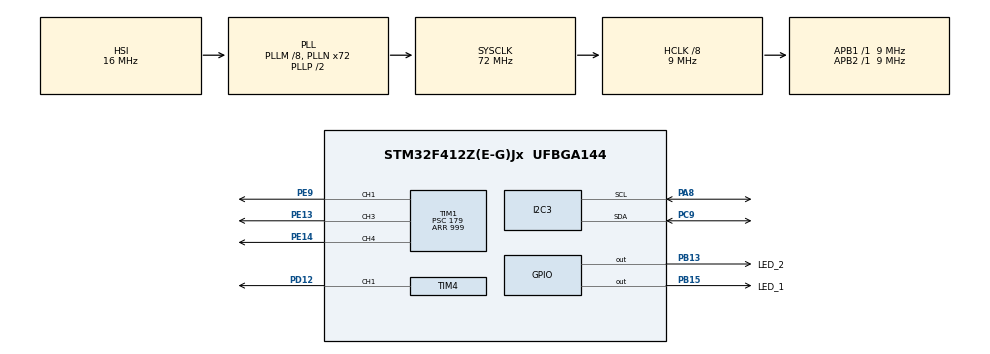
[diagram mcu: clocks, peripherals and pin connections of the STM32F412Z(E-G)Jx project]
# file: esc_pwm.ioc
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I2C3.I2C_Mode=I2C_Fast
Mcu.Family=STM32F4
Mcu.Name=STM32F412Z(E-G)Jx
Mcu.Package=UFBGA144
NVIC.PriorityGroup=NVIC_PRIORITYGROUP_4
PA13.Mode=Serial_Wire
PA13.Signal=SYS_JTMS-SWDIO
PA14.Mode=Serial_Wire
PA14.Signal=SYS_JTCK-SWCLK
PA8.Mode=I2C
PA8.Signal=I2C3_SCL
PB13.GPIO_Label=LED_2
PB13.Signal=GPIO_Output
PB15.GPIO_Label=LED_1
PB15.Signal=GPIO_Output
PC9.Mode=I2C
PC9.Signal=I2C3_SDA
PD12.Signal=S_TIM4_CH1
PE13.Signal=S_TIM1_CH3
PE14.Signal=S_TIM1_CH4
PE9.Signal=S_TIM1_CH1
ProjectManager.HeapSize=0x200
ProjectManager.StackSize=0x400
ProjectManager.TargetToolchain=STM32CubeIDE
RCC.AHBCLKDivider=RCC_SYSCLK_DIV8
RCC.AHBFreq_Value=9000000
RCC.APB1Freq_Value=9000000
RCC.APB1TimFreq_Value=9000000
RCC.APB2Freq_Value=9000000
RCC.APB2TimFreq_Value=9000000
RCC.CortexFreq_Value=9000000
RCC.HCLKFreq_Value=9000000
RCC.PLLM=8
RCC.PLLN=72
RCC.SYSCLKFreq_VALUE=72000000
RCC.SYSCLKSource=RCC_SYSCLKSOURCE_PLLCLK
RCC.USBFreq_Value=72000000
RCC.VCOOutputFreq_Value=144000000
SH.S_TIM1_CH1.0=TIM1_CH1,PWM Generation1 CH1
SH.S_TIM1_CH3.0=TIM1_CH3,PWM Generation3 CH3
SH.S_TIM1_CH4.0=TIM1_CH4,PWM Generation4 CH4
SH.S_TIM4_CH1.0=TIM4_CH1,PWM Generation1 CH1
TIM1.Channel-PWM\ Generation1\ CH1=TIM_CHANNEL_1
TIM1.Channel-PWM\ Generation3\ CH3=TIM_CHANNEL_3
TIM1.Channel-PWM\ Generation4\ CH4=TIM_CHANNEL_4
TIM1.Period=999
TIM1.Prescaler=179
TIM4.Channel-PWM\ Generation1\ CH1=TIM_CHANNEL_1
TIM4.Period=999
TIM4.Prescaler=179
board=custom

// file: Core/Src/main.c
/* USER CODE BEGIN Header */
/**
  ******************************************************************************
  * @file           : main.c
  * @brief          : Main program body
  ******************************************************************************
  * @attention
  *
  * Copyright (c) 2024 STMicroelectronics.
  * All rights reserved.
  *
  * This software is licensed under terms that can be found in the LICENSE file
  * in the root directory of this software component.
  * If no LICENSE file comes with this software, it is provided AS-IS.
  *
  ******************************************************************************
  */
/* USER CODE END Header */
#include "main.h"

/* USER CODE BEGIN Includes */
#include "fonts.h"
#include "ssd1306.h"

/* USER CODE END Includes */

/* USER CODE BEGIN PTD */
#define calibrate 1

/* USER CODE END PTD */

I2C_HandleTypeDef hi2c3;

TIM_HandleTypeDef htim1;
TIM_HandleTypeDef htim4;

void SystemClock_Config(void);
static void MX_GPIO_Init(void);
static void MX_TIM1_Init(void);
static void MX_TIM4_Init(void);
static void MX_I2C3_Init(void);

/* USER CODE BEGIN 0 */
void motor_drive()
{

	  SSD1306_GotoXY (0,0);
	  SSD1306_Puts ("PWM = %15", &Font_11x18, 1);
	  SSD1306_UpdateScreen(); //display
	  TIM1->CCR1 = 54;
	  TIM1->CCR3 = 54;
	  TIM1->CCR4 = 54;
	  TIM4->CCR1 = 54;
	  HAL_Delay(2000);
	  SSD1306_Clear();

	  SSD1306_GotoXY (0,0);
	  SSD1306_Puts ("PWM = %20", &Font_11x18, 1);
	  SSD1306_UpdateScreen(); //display
	  TIM1->CCR1 = 55;
	  TIM1->CCR3 = 55;
	  TIM1->CCR4 = 55;
	  TIM4->CCR1 = 55;
	  HAL_Delay(2000);
	  SSD1306_Clear();

	  SSD1306_GotoXY (0,0);
	  SSD1306_Puts ("PWM = %25", &Font_11x18, 1);
	  SSD1306_UpdateScreen(); //display
	  TIM1->CCR1 = 56;
	  TIM1->CCR3 = 56;
	  TIM1->CCR4 = 56;
	  TIM4->CCR1 = 56;
	  HAL_Delay(2000);
	  SSD1306_Clear();

	  SSD1306_GotoXY (0,0);
	  SSD1306_Puts ("PWM = %30", &Font_11x18, 1);
	  SSD1306_UpdateScreen(); //display
	  TIM1->CCR1 = 57;
	  TIM1->CCR3 = 57;
	  TIM1->CCR4 = 57;
	  TIM4->CCR1 = 57;
	  HAL_Delay(2000);
	  SSD1306_Clear();

	  SSD1306_GotoXY (0,0);
	  SSD1306_Puts ("PWM = %35", &Font_11x18, 1);
	  SSD1306_UpdateScreen(); //display
	  TIM1->CCR1 = 58;
	  TIM1->CCR3 = 58;
	  TIM1->CCR4 = 58;
	  TIM4->CCR1 = 58;
	  HAL_Delay(2000);
	  SSD1306_Clear();

	  SSD1306_GotoXY (0,0);
	  SSD1306_Puts ("PWM = %40", &Font_11x18, 1);
	  SSD1306_UpdateScreen(); //display
	  TIM1->CCR1 = 59;
	  TIM1->CCR3 = 59;
	  TIM1->CCR4 = 59;
	  TIM4->CCR1 = 59;
	  HAL_Delay(2000);
	  SSD1306_Clear();

	  SSD1306_GotoXY (0,0);
	  SSD1306_Puts ("PWM = %45", &Font_11x18, 1);
	  SSD1306_UpdateScreen(); //display
	  TIM1->CCR1 = 60;
	  TIM1->CCR3 = 60;
	  TIM1->CCR4 = 60;
	  TIM4->CCR1 = 60;
	  HAL_Delay(2000);
	  SSD1306_Clear();

}

void motor_stop()
{
	  SSD1306_GotoXY (0,0);
	  SSD1306_Puts ("PWM = %0", &Font_11x18, 1);
	  SSD1306_UpdateScreen(); //display
	  TIM1->CCR1 = 50;
	  TIM1->CCR3 = 50;
	  TIM1->CCR4 = 50;
	  TIM4->CCR1 = 50;
	  HAL_Delay(2000);
	  SSD1306_Clear();

}

/* USER CODE END 0 */

int main(void)
{

  /* MCU Configuration--------------------------------------------------------*/

  /* Reset of all peripherals, Initializes the Flash interface and the Systick. */
  HAL_Init();

  /* Configure the system clock */
  SystemClock_Config();

  /* Initialize all configured peripherals */
  MX_GPIO_Init();
  MX_TIM1_Init();
  MX_TIM4_Init();
  MX_I2C3_Init();
  /* USER CODE BEGIN 2 */
  SSD1306_Init();
  HAL_GPIO_WritePin(GPIOB, LED_1_Pin|LED_2_Pin, GPIO_PIN_SET);
  HAL_Delay(2000);
  HAL_TIM_PWM_Start(&htim1, TIM_CHANNEL_1);
  HAL_TIM_PWM_Start(&htim1, TIM_CHANNEL_3);
  HAL_TIM_PWM_Start(&htim1, TIM_CHANNEL_4);
  HAL_TIM_PWM_Start(&htim4, TIM_CHANNEL_1);

  SSD1306_GotoXY (0,0);
  SSD1306_Puts ("Calibrating", &Font_11x18, 1);
  SSD1306_UpdateScreen(); //display

#if calibrate
  TIM1->CCR1 = 100;
  TIM1->CCR3 = 100;
  TIM1->CCR4 = 100;
  TIM4->CCR1 = 100;
  HAL_Delay(2000);
  TIM1->CCR1 = 50;
  TIM1->CCR3 = 50;
  TIM1->CCR4 = 50;
  TIM4->CCR1 = 50;
  HAL_Delay(1000);
  TIM1->CCR1 = 0;
#endif

  HAL_Delay(4000);
  SSD1306_Clear();

  /* USER CODE END 2 */

  /* Infinite loop */
  while (1)
  {

    /* USER CODE BEGIN 3 */

	  motor_drive();
	  motor_stop();

	  SSD1306_GotoXY (0,0);
	  SSD1306_Puts ("Test finished", &Font_11x18, 1);
	  SSD1306_UpdateScreen(); //display
	  HAL_Delay(2000);
	  SSD1306_Clear();
  }
  /* USER CODE END 3 */
}

void SystemClock_Config(void)
{
  RCC_OscInitTypeDef RCC_OscInitStruct = {0};
  RCC_ClkInitTypeDef RCC_ClkInitStruct = {0};

  /** Configure the main internal regulator output voltage
  */
  __HAL_RCC_PWR_CLK_ENABLE();
  __HAL_PWR_VOLTAGESCALING_CONFIG(PWR_REGULATOR_VOLTAGE_SCALE1);

  /** Initializes the RCC Oscillators according to the specified parameters
  * in the RCC_OscInitTypeDef structure.
  */
  RCC_OscInitStruct.OscillatorType = RCC_OSCILLATORTYPE_HSI;
  RCC_OscInitStruct.HSIState = RCC_HSI_ON;
  RCC_OscInitStruct.HSICalibrationValue = RCC_HSICALIBRATION_DEFAULT;
  RCC_OscInitStruct.PLL.PLLState = RCC_PLL_ON;
  RCC_OscInitStruct.PLL.PLLSource = RCC_PLLSOURCE_HSI;
  RCC_OscInitStruct.PLL.PLLM = 8;
  RCC_OscInitStruct.PLL.PLLN = 72;
  RCC_OscInitStruct.PLL.PLLP = RCC_PLLP_DIV2;
  RCC_OscInitStruct.PLL.PLLQ = 2;
  RCC_OscInitStruct.PLL.PLLR = 2;
  if (HAL_RCC_OscConfig(&RCC_OscInitStruct) != HAL_OK)
  {
    Error_Handler();
  }

  /** Initializes the CPU, AHB and APB buses clocks
  */
  RCC_ClkInitStruct.ClockType = RCC_CLOCKTYPE_HCLK|RCC_CLOCKTYPE_SYSCLK
                              |RCC_CLOCKTYPE_PCLK1|RCC_CLOCKTYPE_PCLK2;
  RCC_ClkInitStruct.SYSCLKSource = RCC_SYSCLKSOURCE_PLLCLK;
  RCC_ClkInitStruct.AHBCLKDivider = RCC_SYSCLK_DIV8;
  RCC_ClkInitStruct.APB1CLKDivider = RCC_HCLK_DIV1;
  RCC_ClkInitStruct.APB2CLKDivider = RCC_HCLK_DIV1;

  if (HAL_RCC_ClockConfig(&RCC_ClkInitStruct, FLASH_LATENCY_0) != HAL_OK)
  {
    Error_Handler();
  }
}

static void MX_I2C3_Init(void)
{

  hi2c3.Instance = I2C3;
  hi2c3.Init.ClockSpeed = 400000;
  hi2c3.Init.DutyCycle = I2C_DUTYCYCLE_2;
  hi2c3.Init.OwnAddress1 = 0;
  hi2c3.Init.AddressingMode = I2C_ADDRESSINGMODE_7BIT;
  hi2c3.Init.DualAddressMode = I2C_DUALADDRESS_DISABLE;
  hi2c3.Init.OwnAddress2 = 0;
  hi2c3.Init.GeneralCallMode = I2C_GENERALCALL_DISABLE;
  hi2c3.Init.NoStretchMode = I2C_NOSTRETCH_DISABLE;
  if (HAL_I2C_Init(&hi2c3) != HAL_OK)
  {
    Error_Handler();
  }

}

static void MX_TIM1_Init(void)
{

  TIM_MasterConfigTypeDef sMasterConfig = {0};
  TIM_OC_InitTypeDef sConfigOC = {0};
  TIM_BreakDeadTimeConfigTypeDef sBreakDeadTimeConfig = {0};

  htim1.Instance = TIM1;
  htim1.Init.Prescaler = 179;
  htim1.Init.CounterMode = TIM_COUNTERMODE_UP;
  htim1.Init.Period = 999;
  htim1.Init.ClockDivision = TIM_CLOCKDIVISION_DIV1;
  htim1.Init.RepetitionCounter = 0;
  htim1.Init.AutoReloadPreload = TIM_AUTORELOAD_PRELOAD_DISABLE;
  if (HAL_TIM_PWM_Init(&htim1) != HAL_OK)
  {
    Error_Handler();
  }
  sMasterConfig.MasterOutputTrigger = TIM_TRGO_RESET;
  sMasterConfig.MasterSlaveMode = TIM_MASTERSLAVEMODE_DISABLE;
  if (HAL_TIMEx_MasterConfigSynchronization(&htim1, &sMasterConfig) != HAL_OK)
  {
    Error_Handler();
  }
  sConfigOC.OCMode = TIM_OCMODE_PWM1;
  sConfigOC.Pulse = 0;
  sConfigOC.OCPolarity = TIM_OCPOLARITY_HIGH;
  sConfigOC.OCNPolarity = TIM_OCNPOLARITY_HIGH;
  sConfigOC.OCFastMode = TIM_OCFAST_DISABLE;
  sConfigOC.OCIdleState = TIM_OCIDLESTATE_RESET;
  sConfigOC.OCNIdleState = TIM_OCNIDLESTATE_RESET;
  if (HAL_TIM_PWM_ConfigChannel(&htim1, &sConfigOC, TIM_CHANNEL_1) != HAL_OK)
  {
    Error_Handler();
  }
  if (HAL_TIM_PWM_ConfigChannel(&htim1, &sConfigOC, TIM_CHANNEL_3) != HAL_OK)
  {
    Error_Handler();
  }
  if (HAL_TIM_PWM_ConfigChannel(&htim1, &sConfigOC, TIM_CHANNEL_4) != HAL_OK)
  {
    Error_Handler();
  }
  sBreakDeadTimeConfig.OffStateRunMode = TIM_OSSR_DISABLE;
  sBreakDeadTimeConfig.OffStateIDLEMode = TIM_OSSI_DISABLE;
  sBreakDeadTimeConfig.LockLevel = TIM_LOCKLEVEL_OFF;
  sBreakDeadTimeConfig.DeadTime = 0;
  sBreakDeadTimeConfig.BreakState = TIM_BREAK_DISABLE;
  sBreakDeadTimeConfig.BreakPolarity = TIM_BREAKPOLARITY_HIGH;
  sBreakDeadTimeConfig.AutomaticOutput = TIM_AUTOMATICOUTPUT_DISABLE;
  if (HAL_TIMEx_ConfigBreakDeadTime(&htim1, &sBreakDeadTimeConfig) != HAL_OK)
  {
    Error_Handler();
  }
  HAL_TIM_MspPostInit(&htim1);

}

static void MX_TIM4_Init(void)
{

  TIM_MasterConfigTypeDef sMasterConfig = {0};
  TIM_OC_InitTypeDef sConfigOC = {0};

  htim4.Instance = TIM4;
  htim4.Init.Prescaler = 179;
  htim4.Init.CounterMode = TIM_COUNTERMODE_UP;
  htim4.Init.Period = 999;
  htim4.Init.ClockDivision = TIM_CLOCKDIVISION_DIV1;
  htim4.Init.AutoReloadPreload = TIM_AUTORELOAD_PRELOAD_DISABLE;
  if (HAL_TIM_PWM_Init(&htim4) != HAL_OK)
  {
    Error_Handler();
  }
  sMasterConfig.MasterOutputTrigger = TIM_TRGO_RESET;
  sMasterConfig.MasterSlaveMode = TIM_MASTERSLAVEMODE_DISABLE;
  if (HAL_TIMEx_MasterConfigSynchronization(&htim4, &sMasterConfig) != HAL_OK)
  {
    Error_Handler();
  }
  sConfigOC.OCMode = TIM_OCMODE_PWM1;
  sConfigOC.Pulse = 0;
  sConfigOC.OCPolarity = TIM_OCPOLARITY_HIGH;
  sConfigOC.OCFastMode = TIM_OCFAST_DISABLE;
  if (HAL_TIM_PWM_ConfigChannel(&htim4, &sConfigOC, TIM_CHANNEL_1) != HAL_OK)
  {
    Error_Handler();
  }
  HAL_TIM_MspPostInit(&htim4);

}

static void MX_GPIO_Init(void)
{
  GPIO_InitTypeDef GPIO_InitStruct = {0};

  /* GPIO Ports Clock Enable */
  __HAL_RCC_GPIOA_CLK_ENABLE();
  __HAL_RCC_GPIOC_CLK_ENABLE();
  __HAL_RCC_GPIOE_CLK_ENABLE();
  __HAL_RCC_GPIOD_CLK_ENABLE();
  __HAL_RCC_GPIOB_CLK_ENABLE();

  /*Configure GPIO pin Output Level */
  HAL_GPIO_WritePin(GPIOB, LED_1_Pin|LED_2_Pin, GPIO_PIN_RESET);

  /*Configure GPIO pins : LED_1_Pin LED_2_Pin */
  GPIO_InitStruct.Pin = LED_1_Pin|LED_2_Pin;
  GPIO_InitStruct.Mode = GPIO_MODE_OUTPUT_PP;
  GPIO_InitStruct.Pull = GPIO_NOPULL;
  GPIO_InitStruct.Speed = GPIO_SPEED_FREQ_LOW;
  HAL_GPIO_Init(GPIOB, &GPIO_InitStruct);

}

void Error_Handler(void)
{
  __disable_irq();
  while (1)
  {
  }
}
